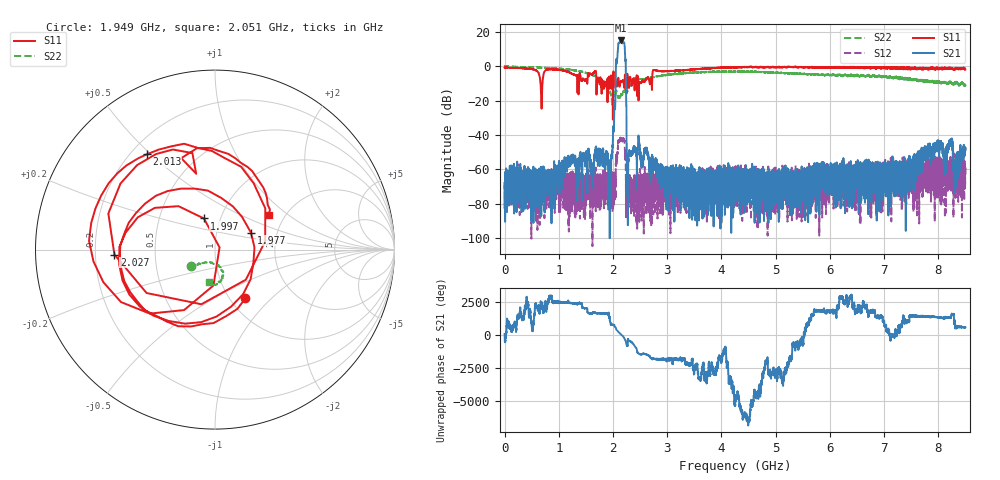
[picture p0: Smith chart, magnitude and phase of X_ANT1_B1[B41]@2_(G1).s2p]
#  HZ  S  RI  R  50.00
! Rohde & Schwarz Vector Network Analyzer
! Rohde-Schwarz,ZNBT8-20Port,1318700624101681,3.50
! Created: UTC 7/15/2025, 2:10:16 PM
! freq[Hz]  re:S1010  im:S1010  re:S0510  im:S0510  re:S1005  im:S1005  re:S55  im:S55
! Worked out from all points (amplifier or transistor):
!   8500 points, 1 MHz to 8.5 GHz, reference 50 ohm
!   highest |S21| = 14.9 dB at 2.145 GHz (marker M1)
!   |S21| within 3 dB of that: 2.095 GHz to 2.215 GHz (120.1 MHz wide, 5.57 % of centre)
!   unconditionally stable (mu >= 1): start of sweep to end of sweep
!   at 1.417 GHz: K = 628293.56, MAG = -54.0 dB, |S12| = -71.5 dB
!   at 4.251 GHz: K = 245560.31, MAG = -52.2 dB, |S12| = -73.2 dB
!   at 8.5 GHz: K = 60740.05, MAG = -42.9 dB, |S12| = -63.6 dB
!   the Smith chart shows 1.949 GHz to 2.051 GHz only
!   S11 on the Smith chart (normalised r, x): 1.949 GHz: 1.17, -0.71; 1.977 GHz: 1.47, +0.29; 1.997 GHz: 0.84, +0.30; 2.013 GHz: 0.26, +0.49; 2.027 GHz: 0.28, -0.02; 2.051 GHz: 1.65, +0.74
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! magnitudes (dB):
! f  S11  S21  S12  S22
! 1 MHz  -0.9  -67.9  -67.2  -0.2
! 676 MHz  -18.0  -63.0  -69.7  -0.9
! 1.418 GHz  -8.5  -57.1  -69.9  -3.2
! 1.708 GHz  -6.9  -48.7  -64.3  -6.6
! 1.949 GHz  -9.9  -54.4  -60.0  -15.7
! 1.977 GHz  -13.1  -52.8  -65.0  -19.3
! 1.997 GHz  -14.7  -44.8  -66.7  -21.9
! 2.013 GHz  -3.7  -36.7  -63.6  -18.0
! 2.027 GHz  -5.0  -20.4  -65.2  -15.3
! 2.051 GHz  -8.9  -6.6  -60.4  -14.8
! 2.093 GHz  -7.2  11.2  -46.7  -18.1
! 2.145 GHz  -8.9  14.9  -41.9  -17.1
! 2.205 GHz  -12.4  13.5  -43.1  -14.5
! 2.293 GHz  -10.2  -50.0  -67.5  -12.4
! 2.454 GHz  -6.3  -50.8  -69.0  -7.4
! 2.834 GHz  -2.8  -59.5  -68.8  -5.7
! 4.251 GHz  -0.6  -63.7  -73.2  -3.2
! 5.667 GHz  -0.3  -68.7  -81.3  -4.8
! 7.084 GHz  -0.9  -56.0  -57.0  -6.1
! 8.224 GHz  -1.3  -44.4  -62.3  -8.9
! 8.322 GHz  -1.8  -55.1  -66.3  -9.9
! 8.5 GHz  -1.9  -47.8  -63.6  -11.1
